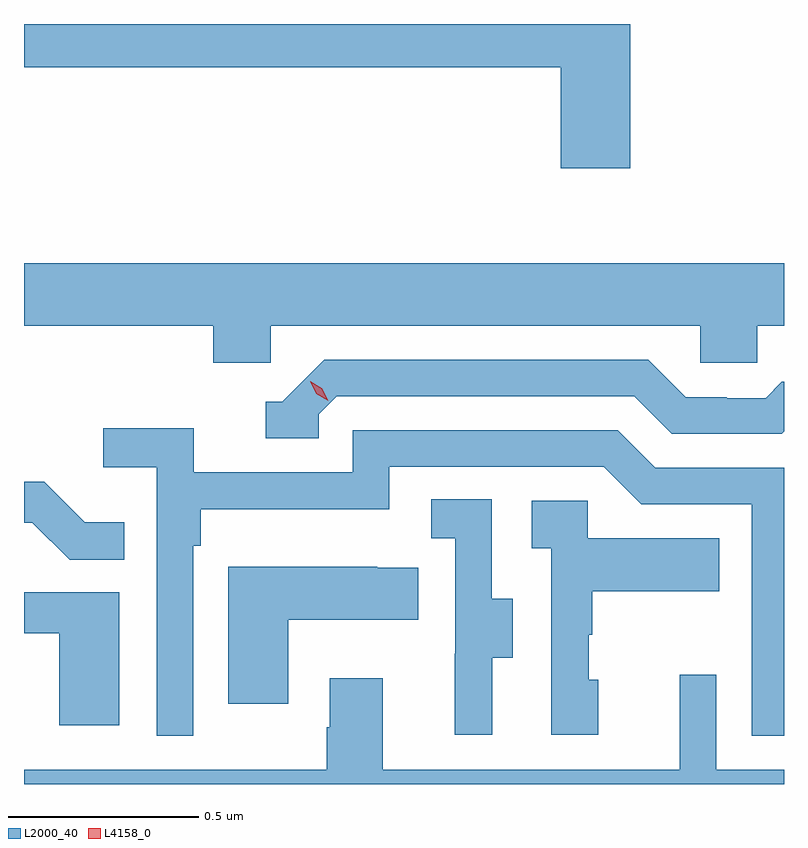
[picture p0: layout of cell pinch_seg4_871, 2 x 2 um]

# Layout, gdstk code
import gdstk
lib = gdstk.Library(unit=1e-6, precision=1e-09)
def P(c, l, *ps):  # polygons
    for p in ps: c.add(gdstk.Polygon(p, *l))
L2000_40 = (2000, 40)
L4158_0 = (4158, 0)

pinch_seg4_871 = lib.new_cell('pinch_seg4_871')
P(pinch_seg4_871, L2000_40, [(867.701,800.278),(866.105,800.278),(866.105,800.164),(867.518,800.164),(867.518,799.899),(867.701,799.899)],
  [(866.754,799.484),(867.885,799.484),(867.885,799.386),(868.035,799.386),(868.035,799.484),(868.105,799.484),(868.105,799.648),(866.105,799.648),(866.105,799.484),(866.603,799.484),(866.603,799.386),(866.754,799.386)],
  [(866.88,799.251),(866.928,799.299),(867.711,799.299),(867.81,799.2),(868.099,799.2),(868.105,799.206),(868.105,799.336),(868.099,799.336),(868.057,799.293),(867.954,799.293),(867.954,799.296),(867.847,799.296),(867.748,799.395),(866.895,799.395),(866.784,799.284),(866.741,799.284),(866.741,799.188),(866.88,799.188)],
  [(866.55,798.905),(866.57,798.905),(866.57,799.001),(867.066,799.001),(867.066,799.113),(867.63,799.113),(867.729,799.014),(868.02,799.014),(868.02,798.405),(868.105,798.405),(868.105,799.11),(867.766,799.11),(867.667,799.209),(866.97,799.209),(866.97,799.098),(866.552,799.098),(866.552,799.214),(866.313,799.214),(866.313,799.112),(866.454,799.112),(866.454,798.405),(866.55,798.405)],
  [(866.369,798.967),(866.265,798.967),(866.158,799.074),(866.105,799.074),(866.105,798.966),(866.127,798.966),(866.225,798.868),(866.369,798.868)],
  [(867.337,798.61),(867.391,798.61),(867.391,798.765),(867.336,798.765),(867.336,799.028),(867.177,799.028),(867.177,798.925),(867.24,798.925),(867.24,798.621),(867.239,798.621),(867.239,798.408),(867.337,798.408)],
  [(867.616,798.552),(867.591,798.552),(867.591,798.671),(867.601,798.671),(867.601,798.785),(867.935,798.785),(867.935,798.925),(867.588,798.925),(867.588,799.023),(867.441,799.023),(867.441,798.899),(867.492,798.899),(867.492,798.408),(867.616,798.408)],
  [(866.8,798.71),(867.143,798.71),(867.143,798.847),(867.035,798.847),(867.035,798.85),(866.642,798.85),(866.642,798.489),(866.8,798.489)],
  [(866.356,798.783),(866.105,798.783),(866.105,798.675),(866.198,798.675),(866.198,798.432),(866.356,798.432)],
  [(868.105,798.316),(867.927,798.316),(867.927,798.565),(867.83,798.565),(867.83,798.316),(867.049,798.316),(867.049,798.556),(866.909,798.556),(866.909,798.428),(866.902,798.428),(866.902,798.316),(866.105,798.316),(866.105,798.278),(868.105,798.278)])
P(pinch_seg4_871, L4158_0, [(866.905,799.286),(866.874,799.305),(866.858,799.338),(866.858,799.338),(866.858,799.338),(866.889,799.319),(866.906,799.286),(866.906,799.286)])

lib.write_gds('pinch_seg4_871.gds')
